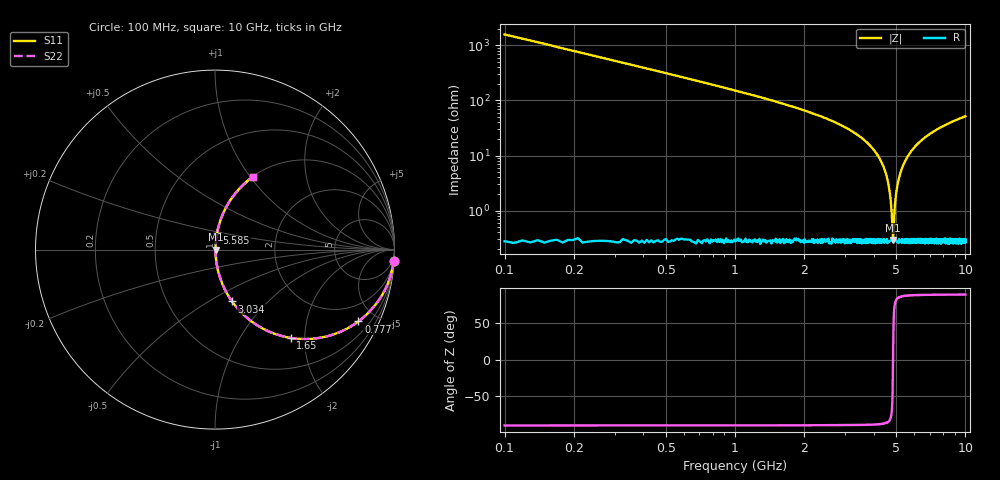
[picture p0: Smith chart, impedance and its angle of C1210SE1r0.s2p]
! AVX Thin Film Operation		Date: April 2012
! Description: Accu-P® Series, Thin Film, SMD, RF Capacitor
! Part Number: 12101J1R0PBTTR
!	100	MHz	-	10.05	GHz
!	Serial	Measurements
#	MHZ	S	MA	R	50
!	S11	S21	S12	S22
!	dB	Phase	dB	Phase	dB	Phase	dB	Phase
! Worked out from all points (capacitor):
!   1010 points, 100 MHz to 10 GHz, reference 50 ohm
!   read as one part in series: C = 1 pF near 149.1 MHz
!   lowest |Z| = 293 mohm at 4.849 GHz (marker M1)
!   series resonance near 4.852 GHz, so ESL is about 1.1 nH
!   S11 on the Smith chart (normalised r, x): 100 MHz: 1, -32; 777 MHz: 1.00, -3.99; 1.65 GHz: 1.01, -1.71; 3.034 GHz: 1.01, -0.64; 5.585 GHz: 1.01, +0.19; 10 GHz: 1.01, +1.03
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100  0.998 -3.6  0.063 86.4  0.063 86.4  0.998 -3.6
227.552  0.99 -8.2  0.142 81.8  0.142 81.8  0.99 -8.2
355.104  0.976 -12.6  0.219 77.3  0.219 77.3  0.976 -12.6
777.007  0.894 -26.6  0.448 63.3  0.448 63.3  0.894 -26.6
1650.248  0.648 -49.4  0.76 40.4  0.76 40.4  0.648 -49.4
1758.176  0.617 -51.7  0.785 38.1  0.785 38.1  0.617 -51.7
3033.697  0.304 -71.8  0.95 17.7  0.95 17.7  0.304 -71.8
3406.541  0.23 -76.0  0.97 13.3  0.97 13.3  0.23 -76.0
4063.925  0.116 -82.0  0.991 6.6  0.991 6.6  0.116 -82.0
4476.016  0.053 -84.0  0.996 3.0  0.996 3.0  0.053 -84.0
4691.873  0.022 -81.5  0.997 1.3  0.997 1.3  0.022 -81.5
4750.743  0.014 -77.8  0.997 0.8  0.997 0.8  0.014 -77.8
4819.425  0.00521 -57.3  0.997 0.3  0.997 0.3  0.00521 -57.3
4848.86  0.00282 -8.4  0.997 0.0  0.997 0.0  0.00282 -8.4
4888.107  0.00561 59.8  0.997 -0.3  0.997 -0.3  0.00561 59.8
4966.601  0.016 78.8  0.997 -0.9  0.997 -0.9  0.016 78.8
5054.906  0.027 82.5  0.997 -1.5  0.997 -1.5  0.027 82.5
5251.14  0.052 83.9  0.996 -3.0  0.996 -3.0  0.052 83.9
5584.737  0.092 83.0  0.993 -5.3  0.993 -5.3  0.092 83.0
6703.271  0.21 77.1  0.975 -12.1  0.975 -12.1  0.21 77.1
8351.635  0.35 69.1  0.934 -20.5  0.934 -20.5  0.35 69.1
10000  0.458 62.4  0.886 -27.3  0.886 -27.3  0.458 62.4
